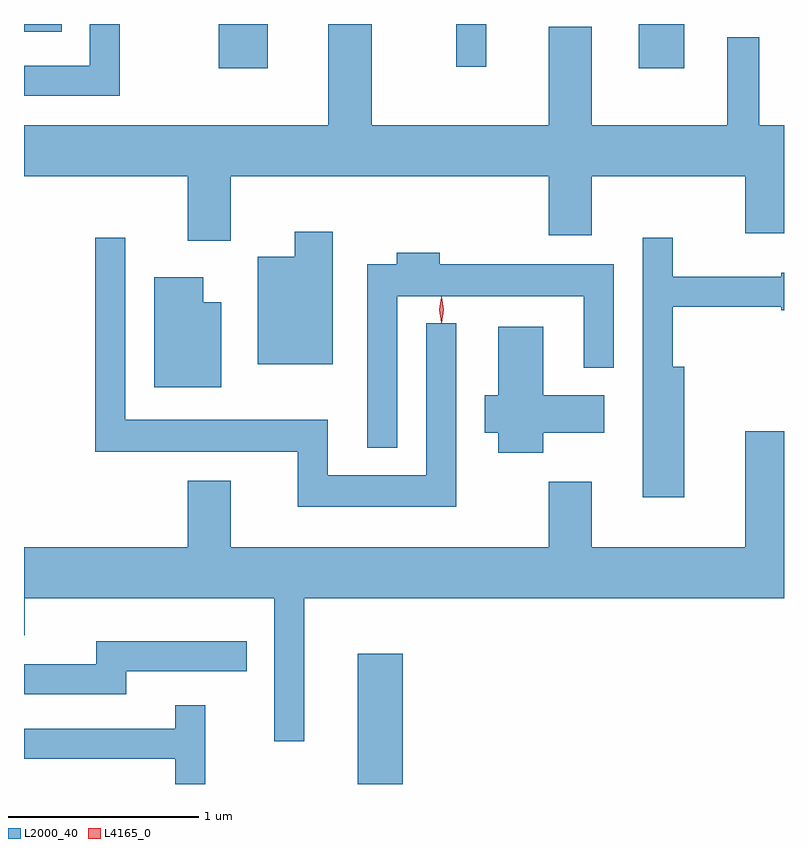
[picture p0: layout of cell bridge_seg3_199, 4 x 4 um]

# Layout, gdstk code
import gdstk
lib = gdstk.Library(unit=1e-6, precision=1e-09)
def R(c, l, rs):  # rectangles x0, y0, x1, y1
    for r in rs: c.add(gdstk.rectangle(r[:2], r[2:], *l))
def P(c, l, *ps):  # polygons
    for p in ps: c.add(gdstk.Polygon(p, *l))
L2000_40 = (2000, 40)
L4165_0 = (4165, 0)

bridge_seg3_199 = lib.new_cell('bridge_seg3_199')
R(bridge_seg3_199, L2000_40, [(1072.176,1149.458,1072.414,1150.144), (1071.446,1153.226,1071.704,1153.458), (1073.656,1153.226,1073.894,1153.458), (1072.696,1153.233,1072.854,1153.458), (1070.42,1153.416,1070.618,1153.458)])
P(bridge_seg3_199, L2000_40, [(1071.509,1152.656),(1073.181,1152.656),(1073.181,1152.346),(1073.409,1152.346),(1073.409,1152.656),(1074.216,1152.656),(1074.216,1152.356),(1074.42,1152.356),(1074.42,1152.924),(1074.289,1152.924),(1074.289,1153.388),(1074.121,1153.388),(1074.121,1152.924),(1073.409,1152.924),(1073.409,1153.444),(1073.181,1153.444),(1073.181,1152.924),(1072.249,1152.924),(1072.249,1153.458),(1072.021,1153.458),(1072.021,1152.924),(1070.42,1152.924),(1070.42,1152.656),(1071.281,1152.656),(1071.281,1152.316),(1071.509,1152.316)],
  [(1070.924,1153.458),(1070.766,1153.458),(1070.766,1153.239),(1070.42,1153.239),(1070.42,1153.081),(1070.924,1153.081)],
  [(1072.044,1152.364),(1071.846,1152.364),(1071.846,1152.234),(1071.651,1152.234),(1071.651,1151.666),(1072.044,1151.666)],
  [(1072.694,1151.883),(1072.536,1151.883),(1072.536,1151.084),(1072.019,1151.084),(1072.019,1151.374),(1070.954,1151.374),(1070.954,1152.333),(1070.796,1152.333),(1070.796,1151.206),(1071.861,1151.206),(1071.861,1150.916),(1072.694,1150.916)],
  [(1073.894,1151.654),(1073.834,1151.654),(1073.834,1151.971),(1074.406,1151.971),(1074.406,1151.951),(1074.42,1151.951),(1074.42,1152.149),(1074.406,1152.149),(1074.406,1152.129),(1073.834,1152.129),(1073.834,1152.333),(1073.676,1152.333),(1073.676,1150.966),(1073.894,1150.966)],
  [(1072.384,1152.026),(1073.366,1152.026),(1073.366,1151.648),(1073.524,1151.648),(1073.524,1152.194),(1072.609,1152.194),(1072.609,1152.254),(1072.381,1152.254),(1072.381,1152.194),(1072.226,1152.194),(1072.226,1151.228),(1072.384,1151.228)],
  [(1071.459,1151.994),(1071.364,1151.994),(1071.364,1152.124),(1071.106,1152.124),(1071.106,1151.546),(1071.459,1151.546)],
  [(1073.154,1151.306),(1073.474,1151.306),(1073.474,1151.504),(1073.154,1151.504),(1073.154,1151.864),(1072.916,1151.864),(1072.916,1151.504),(1072.846,1151.504),(1072.846,1151.306),(1072.916,1151.306),(1072.916,1151.201),(1073.154,1151.201)],
  [(1071.894,1150.436),(1074.42,1150.436),(1074.42,1151.314),(1074.216,1151.314),(1074.216,1150.704),(1073.409,1150.704),(1073.409,1151.049),(1073.181,1151.049),(1073.181,1150.704),(1071.509,1150.704),(1071.509,1151.054),(1071.281,1151.054),(1071.281,1150.704),(1070.42,1150.704),(1070.42,1150.241),(1070.424,1150.241),(1070.424,1150.436),(1071.736,1150.436),(1071.736,1149.683),(1071.894,1149.683)],
  [(1070.959,1150.051),(1071.593,1150.051),(1071.593,1150.209),(1070.801,1150.209),(1070.801,1150.089),(1070.42,1150.089),(1070.42,1149.931),(1070.959,1149.931)],
  [(1071.374,1149.873),(1071.216,1149.873),(1071.216,1149.749),(1070.42,1149.749),(1070.42,1149.591),(1071.216,1149.591),(1071.216,1149.458),(1071.374,1149.458)])
P(bridge_seg3_199, L4165_0, [(1072.616,1151.887),(1072.616,1151.888),(1072.606,1151.954),(1072.616,1152.02),(1072.616,1152.021),(1072.617,1152.02),(1072.626,1151.954),(1072.617,1151.888)],
  [(1072.617,1151.884),(1072.608,1151.954),(1072.617,1152.023),(1072.618,1152.023),(1072.618,1152.023),(1072.628,1151.954),(1072.618,1151.884),(1072.618,1151.884)])

lib.write_gds('bridge_seg3_199.gds')
